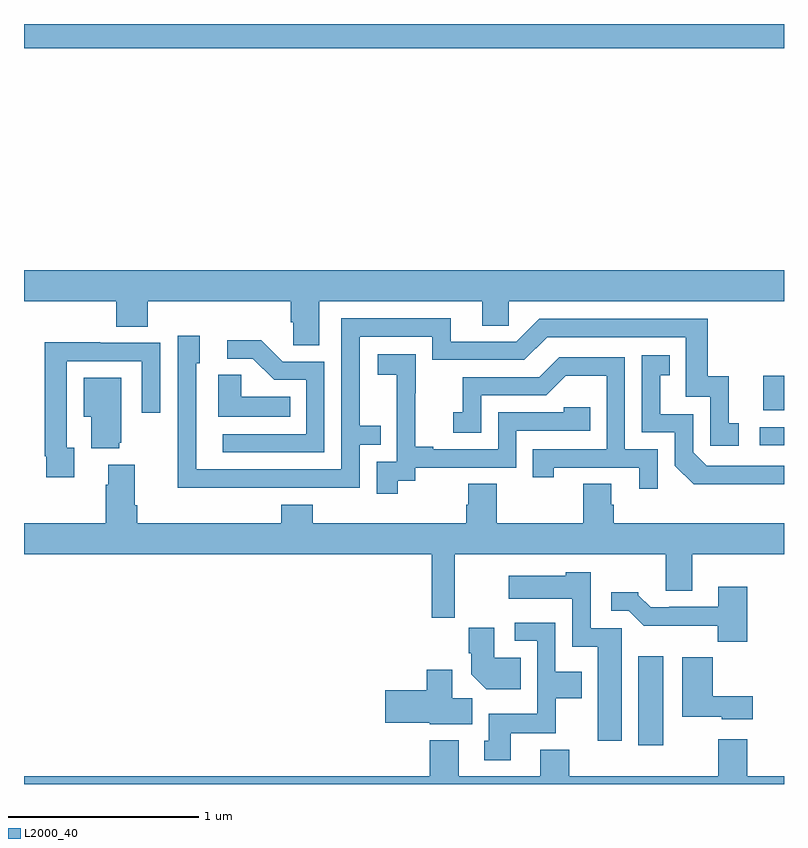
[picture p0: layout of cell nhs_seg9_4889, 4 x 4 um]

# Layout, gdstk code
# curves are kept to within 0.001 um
import gdstk
lib = gdstk.Library(unit=1e-6, precision=1e-09)
def R(c, l, rs):  # rectangles x0, y0, x1, y1
    for r in rs: c.add(gdstk.rectangle(r[:2], r[2:], *l))
def P(c, l, *ps):  # polygons
    for p in ps: c.add(gdstk.Polygon(p, *l))
L2000_40 = (2000, 40)

nhs_seg9_4889 = lib.new_cell('nhs_seg9_4889')
R(nhs_seg9_4889, L2000_40, [(396.233,1240.704,396.364,1241.173), (396.873,1242.282,397,1242.378), (396.89,1242.467,397,1242.649), (393,1244.372,397,1244.5)])
P(nhs_seg9_4889, L2000_40, [(394.555,1243.04),(395.411,1243.04),(395.411,1242.913),(395.55,1242.913),(395.55,1243.04),(397,1243.04),(397,1243.204),(393,1243.204),(393,1243.04),(393.485,1243.04),(393.485,1242.907),(393.65,1242.907),(393.65,1243.04),(394.403,1243.04),(394.403,1242.931),(394.416,1242.931),(394.416,1242.808),(394.555,1242.808)],
  [(394.271,1242.06),(394.767,1242.06),(394.767,1242.285),(394.877,1242.285),(394.877,1242.386),(394.767,1242.386),(394.767,1242.855),(395.148,1242.855),(395.148,1242.732),(395.634,1242.732),(395.754,1242.852),(396.483,1242.852),(396.483,1242.537),(396.612,1242.537),(396.612,1242.279),(396.763,1242.279),(396.763,1242.399),(396.71,1242.399),(396.71,1242.646),(396.599,1242.646),(396.599,1242.948),(395.712,1242.948),(395.592,1242.828),(395.245,1242.828),(395.245,1242.951),(394.671,1242.951),(394.671,1242.156),(393.906,1242.156),(393.906,1242.714),(393.925,1242.714),(393.925,1242.859),(393.81,1242.859),(393.81,1242.365),(393.808,1242.365),(393.808,1242.059)],
  [(394.581,1242.723),(394.362,1242.723),(394.249,1242.836),(394.071,1242.836),(394.071,1242.738),(394.205,1242.738),(394.316,1242.627),(394.485,1242.627),(394.485,1242.342),(394.047,1242.342),(394.047,1242.246),(394.581,1242.246)],
  [(393.265,1242.27),(393.225,1242.27),(393.225,1242.726),(393.621,1242.726),(393.621,1242.453),(393.717,1242.453),(393.717,1242.822),(393.401,1242.822),(393.401,1242.824),(393.109,1242.824),(393.109,1242.226),(393.117,1242.226),(393.117,1242.114),(393.265,1242.114)],
  [(394.966,1242.097),(395.058,1242.097),(395.058,1242.165),(395.592,1242.165),(395.592,1242.36),(395.981,1242.36),(395.981,1242.483),(395.841,1242.483),(395.841,1242.456),(395.496,1242.456),(395.496,1242.261),(395.155,1242.261),(395.155,1242.274),(395.06,1242.274),(395.06,1242.557),(395.061,1242.557),(395.061,1242.763),(394.863,1242.763),(394.863,1242.653),(394.961,1242.653),(394.961,1242.425),(394.962,1242.425),(394.962,1242.195),(394.857,1242.195),(394.857,1242.027),(394.966,1242.027)],
  [(396.932,1242.078),(397,1242.078),(397,1242.174),(396.594,1242.174),(396.522,1242.246),(396.522,1242.447),(396.349,1242.447),(396.349,1242.651),(396.398,1242.651),(396.398,1242.757),(396.252,1242.757),(396.252,1242.351),(396.426,1242.351),(396.426,1242.174),(396.524,1242.077)],
  [(396.336,1242.261),(396.162,1242.261),(396.162,1242.747),(395.816,1242.747),(395.711,1242.642),(395.308,1242.642),(395.308,1242.457),(395.259,1242.457),(395.259,1242.348),(395.406,1242.348),(395.406,1242.546),(395.748,1242.546),(395.852,1242.65),(396.066,1242.65),(396.066,1242.261),(395.677,1242.261),(395.677,1242.114),(395.788,1242.114),(395.788,1242.165),(396.239,1242.165),(396.239,1242.054),(396.336,1242.054)],
  [(394.4,1242.538),(394.143,1242.538),(394.143,1242.653),(394.022,1242.653),(394.022,1242.434),(394.4,1242.434)],
  [(393.5,1242.297),(393.511,1242.297),(393.511,1242.637),(393.314,1242.637),(393.314,1242.434),(393.353,1242.434),(393.353,1242.266),(393.5,1242.266)],
  [(395.267,1241.708),(396.377,1241.708),(396.377,1241.518),(396.517,1241.518),(396.517,1241.708),(397,1241.708),(397,1241.872),(396.104,1241.872),(396.104,1241.97),(396.091,1241.97),(396.091,1242.08),(395.944,1242.08),(395.944,1241.872),(395.487,1241.872),(395.487,1242.08),(395.339,1242.08),(395.339,1241.97),(395.327,1241.97),(395.327,1241.872),(394.52,1241.872),(394.52,1241.971),(394.355,1241.971),(394.355,1241.872),(393.596,1241.872),(393.596,1241.968),(393.583,1241.968),(393.583,1242.181),(393.443,1242.181),(393.443,1242.074),(393.431,1242.074),(393.431,1241.872),(393,1241.872),(393,1241.708),(395.146,1241.708),(395.146,1241.376),(395.267,1241.376)],
  [(396.145,1241.319),(395.982,1241.319),(395.982,1241.614),(395.85,1241.614),(395.85,1241.596),(395.55,1241.596),(395.55,1241.474),(395.886,1241.474),(395.886,1241.222),(396.02,1241.222),(396.02,1240.728),(396.145,1240.728)],
  [(396.806,1241.539),(396.653,1241.539),(396.653,1241.433),(396.397,1241.433),(396.397,1241.43),(396.298,1241.43),(396.234,1241.494),(396.234,1241.509),(396.09,1241.509),(396.09,1241.412),(396.183,1241.412),(396.262,1241.334),(396.651,1241.334),(396.651,1241.249),(396.806,1241.249)],
  [(395.563,1240.766),(395.799,1240.766),(395.799,1240.952),(395.935,1240.952),(395.935,1241.092),(395.796,1241.092),(395.796,1241.349),(395.583,1241.349),(395.583,1241.253),(395.7,1241.253),(395.7,1240.87),(395.447,1240.87),(395.447,1240.728),(395.423,1240.728),(395.423,1240.626),(395.563,1240.626)],
  [(395.615,1241.164),(395.476,1241.164),(395.476,1241.323),(395.342,1241.323),(395.342,1241.188),(395.354,1241.188),(395.354,1241.078),(395.432,1241),(395.615,1241)],
  [(396.835,1240.963),(396.626,1240.963),(396.626,1241.167),(396.464,1241.167),(396.464,1240.853),(396.672,1240.853),(396.672,1240.841),(396.835,1240.841)],
  [(395.359,1240.952),(395.254,1240.952),(395.254,1241.101),(395.12,1241.101),(395.12,1240.994),(394.902,1240.994),(394.902,1240.823),(395.136,1240.823),(395.136,1240.814),(395.359,1240.814)],
  [(397,1240.54),(396.806,1240.54),(396.806,1240.735),(396.653,1240.735),(396.653,1240.54),(395.87,1240.54),(395.87,1240.681),(395.717,1240.681),(395.717,1240.54),(395.287,1240.54),(395.287,1240.729),(395.135,1240.729),(395.135,1240.54),(393,1240.54),(393,1240.5),(397,1240.5)])

lib.write_gds('nhs_seg9_4889.gds')
